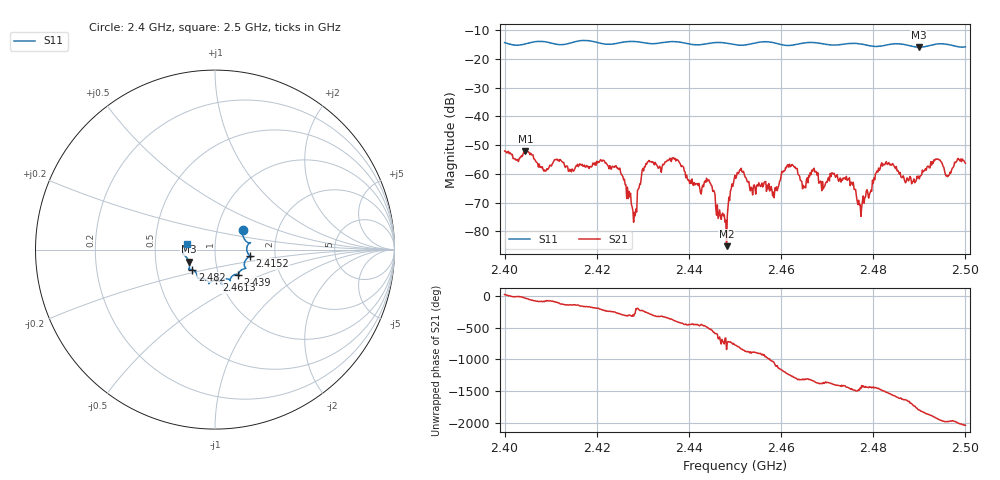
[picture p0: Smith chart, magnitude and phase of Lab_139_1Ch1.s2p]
# Hz S RI R 50
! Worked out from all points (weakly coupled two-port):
!   601 points, 2.4 GHz to 2.5 GHz, reference 50 ohm
!   highest |S21| = -52.03 dB at 2.4045 GHz (marker M1); lowest = -85.2 dB at 2.4482 GHz (marker M2)
!   lowest |S11| = -15.9 dB at 2.4898 GHz (marker M3), VSWR 1.38, Z = 37 - j5.04 ohm
!   |S11| at or under -10 dB: start of sweep to end of sweep
!   S12 and S22 are empty: the file has one direction only
!   S11 on the Smith chart (normalised r, x): 2.4 GHz: 1.33, +0.31; 2.4152 GHz: 1.48, -0.11; 2.439 GHz: 1.24, -0.36; 2.4613 GHz: 0.96, -0.34; 2.482 GHz: 0.76, -0.17; 2.5 GHz: 0.73, +0.05
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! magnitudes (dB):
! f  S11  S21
! 2.4 GHz  -14.4  -52.1
! 2.4045 GHz  -14.8  -52.0
! 2.4152 GHz  -14.1  -58.5
! 2.4167 GHz  -13.6  -57.0
! 2.4245 GHz  -14.5  -57.8
! 2.4282 GHz  -13.9  -73.4
! 2.4303 GHz  -14.4  -57.5
! 2.4333 GHz  -14.5  -58.1
! 2.439 GHz  -14.5  -59.1
! 2.4443 GHz  -14.6  -62.1
! 2.4482 GHz  -14.5  -85.2
! 2.45 GHz  -15.0  -60.4
! 2.4587 GHz  -14.5  -64.9
! 2.4613 GHz  -15.3  -57.0
! 2.4648 GHz  -14.5  -64.0
! 2.4667 GHz  -14.3  -58.7
! 2.4743 GHz  -14.7  -62.3
! 2.4772 GHz  -14.8  -70.8
! 2.482 GHz  -15.5  -57.3
! 2.4833 GHz  -15.0  -56.1
! 2.4898 GHz  -15.9  -60.8
! 2.5 GHz  -15.8  -56.3
